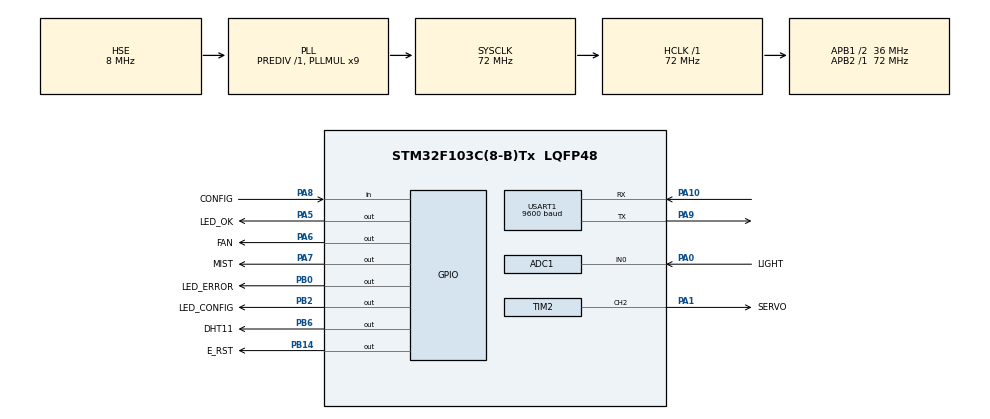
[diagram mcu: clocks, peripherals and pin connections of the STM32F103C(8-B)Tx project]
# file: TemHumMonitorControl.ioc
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ADC1.Channel-0\#ChannelRegularConversion=ADC_CHANNEL_0
ADC1.ContinuousConvMode=ENABLE
ADC1.NbrOfConversionFlag=1
ADC1.Rank-0\#ChannelRegularConversion=1
ADC1.SamplingTime-0\#ChannelRegularConversion=ADC_SAMPLETIME_239CYCLES_5
ADC1.master=1
Dma.ADC1.0.Direction=DMA_PERIPH_TO_MEMORY
Dma.ADC1.0.Instance=DMA1_Channel1
Dma.ADC1.0.MemDataAlignment=DMA_MDATAALIGN_HALFWORD
Dma.ADC1.0.MemInc=DMA_MINC_ENABLE
Dma.ADC1.0.Mode=DMA_CIRCULAR
Dma.ADC1.0.PeriphDataAlignment=DMA_PDATAALIGN_HALFWORD
Dma.ADC1.0.PeriphInc=DMA_PINC_DISABLE
Dma.ADC1.0.Priority=DMA_PRIORITY_LOW
Dma.Request0=ADC1
Mcu.Family=STM32F1
Mcu.Name=STM32F103C(8-B)Tx
Mcu.Package=LQFP48
NVIC.DMA1_Channel1_IRQn=true\:0\:0\:false\:false\:true\:false\:true
NVIC.PriorityGroup=NVIC_PRIORITYGROUP_4
NVIC.USART1_IRQn=true\:0\:0\:false\:false\:true\:true\:true
PA0-WKUP.GPIO_Label=LIGHT
PA0-WKUP.Signal=ADCx_IN0
PA1.GPIO_Label=SERVO
PA1.Signal=S_TIM2_CH2
PA10.Mode=Asynchronous
PA10.Signal=USART1_RX
PA13.Mode=Serial_Wire
PA13.Signal=SYS_JTMS-SWDIO
PA14.Mode=Serial_Wire
PA14.Signal=SYS_JTCK-SWCLK
PA5.GPIO_Label=LED_OK
PA5.Signal=GPIO_Output
PA6.GPIO_Label=FAN
PA6.Signal=GPIO_Output
PA7.GPIO_Label=MIST
PA7.Signal=GPIO_Output
PA8.GPIO_Label=CONFIG
PA8.Signal=GPIO_Input
PA9.Mode=Asynchronous
PA9.Signal=USART1_TX
PB0.GPIO_Label=LED_ERROR
PB0.Signal=GPIO_Output
PB14.GPIO_Label=E_RST
PB14.Signal=GPIO_Output
PB2.GPIO_Label=LED_CONFIG
PB2.Signal=GPIO_Output
PB6.GPIO_Label=DHT11
PB6.Signal=GPIO_Output
PD0-OSC_IN.Mode=HSE-External-Oscillator
PD0-OSC_IN.Signal=RCC_OSC_IN
PD1-OSC_OUT.Mode=HSE-External-Oscillator
PD1-OSC_OUT.Signal=RCC_OSC_OUT
ProjectManager.HeapSize=0x200
ProjectManager.StackSize=0x400
ProjectManager.TargetToolchain=MDK-ARM V5.27
RCC.ADCPresc=RCC_ADCPCLK2_DIV6
RCC.AHBFreq_Value=72000000
RCC.APB1CLKDivider=RCC_HCLK_DIV2
RCC.APB1Freq_Value=36000000
RCC.APB1TimFreq_Value=72000000
RCC.APB2Freq_Value=72000000
RCC.APB2TimFreq_Value=72000000
RCC.HCLKFreq_Value=72000000
RCC.PLLMUL=RCC_PLL_MUL9
RCC.PLLSourceVirtual=RCC_PLLSOURCE_HSE
RCC.SYSCLKFreq_VALUE=72000000
RCC.SYSCLKSource=RCC_SYSCLKSOURCE_PLLCLK
RCC.USBFreq_Value=72000000
SH.ADCx_IN0.0=ADC1_IN0,IN0
SH.S_TIM2_CH2.0=TIM2_CH2,PWM Generation2 CH2
TIM2.Channel-PWM\ Generation2\ CH2=TIM_CHANNEL_2
TIM2.Period=100 - 1
TIM2.Prescaler=14400 - 1
USART1.BaudRate=9600
USART1.VirtualMode=VM_ASYNC
board=custom

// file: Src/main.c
/* USER CODE BEGIN Header */
/**
  ******************************************************************************
  * @file           : main.c
  * @brief          : Main program body
  ******************************************************************************
  * @attention
  *
  * <h2><center>&copy; Copyright (c) 2021 STMicroelectronics.
  * All rights reserved.</center></h2>
  *
  * This software component is licensed by ST under BSD 3-Clause license,
  * the "License"; You may not use this file except in compliance with the
  * License. You may obtain a copy of the License at:
  *                        opensource.org/licenses/BSD-3-Clause
  *
  ******************************************************************************
  */
/* USER CODE END Header */
#include "main.h"

/* USER CODE BEGIN Includes */
#include "string.h"
#include "utils.h"
/* USER CODE END Includes */

ADC_HandleTypeDef hadc1;
DMA_HandleTypeDef hdma_adc1;

TIM_HandleTypeDef htim2;

UART_HandleTypeDef huart1;

/* USER CODE BEGIN PV */
uint32_t adc_buff[1];
uint8_t rx_data[2], rx_buf[150];
uint16_t rx_buf_id;
char tmp[40];

uint8_t temp, humi;
uint16_t lux;
uint16_t sum_temp, sum_humi, sum_lux, count;

// flag
uint8_t fan_sts, mist_sts, servo_sts;
uint8_t mist_pulse;
uint8_t hasControl;
uint8_t data_ready;
uint8_t configMode, nextConfigMode;
uint8_t wifiConnected;

uint32_t svc_0_5sec;
uint32_t svc_1sec;
uint32_t svc_5sec;
uint32_t svc_100us;
/* USER CODE END PV */

void SystemClock_Config(void);
static void MX_GPIO_Init(void);
static void MX_DMA_Init(void);
static void MX_ADC1_Init(void);
static void MX_USART1_UART_Init(void);
static void MX_TIM2_Init(void);
/* USER CODE BEGIN PFP */
void Init();
void MainLoopService();
void Set_Pin_Output(GPIO_TypeDef* port, uint16_t pin);
void Set_Pin_Input(GPIO_TypeDef* port, uint16_t pin);
uint8_t DHT11_Read(uint8_t* temp, uint8_t* humi);
uint16_t Get_Lux();
void HAL_UART_RxCpltCallback(UART_HandleTypeDef*);
void SendCmd(char *cmd, int timeout);
/* USER CODE END PFP */

int main(void)
{

  /* MCU Configuration--------------------------------------------------------*/

  /* Reset of all peripherals, Initializes the Flash interface and the Systick. */
  HAL_Init();

  /* Configure the system clock */
  SystemClock_Config();

  /* Initialize all configured peripherals */
  MX_GPIO_Init();
  MX_DMA_Init();
  MX_ADC1_Init();
  MX_USART1_UART_Init();
  MX_TIM2_Init();
  /* USER CODE BEGIN 2 */
	Init();
  /* USER CODE END 2 */

  /* Infinite loop */
  /* USER CODE BEGIN WHILE */
  while (1)
  {
		MainLoopService();
    /* USER CODE END WHILE */

  }
}

void SystemClock_Config(void)
{
  RCC_OscInitTypeDef RCC_OscInitStruct = {0};
  RCC_ClkInitTypeDef RCC_ClkInitStruct = {0};
  RCC_PeriphCLKInitTypeDef PeriphClkInit = {0};

  /** Initializes the RCC Oscillators according to the specified parameters
  * in the RCC_OscInitTypeDef structure.
  */
  RCC_OscInitStruct.OscillatorType = RCC_OSCILLATORTYPE_HSE;
  RCC_OscInitStruct.HSEState = RCC_HSE_ON;
  RCC_OscInitStruct.HSEPredivValue = RCC_HSE_PREDIV_DIV1;
  RCC_OscInitStruct.HSIState = RCC_HSI_ON;
  RCC_OscInitStruct.PLL.PLLState = RCC_PLL_ON;
  RCC_OscInitStruct.PLL.PLLSource = RCC_PLLSOURCE_HSE;
  RCC_OscInitStruct.PLL.PLLMUL = RCC_PLL_MUL9;
  if (HAL_RCC_OscConfig(&RCC_OscInitStruct) != HAL_OK)
  {
    Error_Handler();
  }
  /** Initializes the CPU, AHB and APB buses clocks
  */
  RCC_ClkInitStruct.ClockType = RCC_CLOCKTYPE_HCLK|RCC_CLOCKTYPE_SYSCLK
                              |RCC_CLOCKTYPE_PCLK1|RCC_CLOCKTYPE_PCLK2;
  RCC_ClkInitStruct.SYSCLKSource = RCC_SYSCLKSOURCE_PLLCLK;
  RCC_ClkInitStruct.AHBCLKDivider = RCC_SYSCLK_DIV1;
  RCC_ClkInitStruct.APB1CLKDivider = RCC_HCLK_DIV2;
  RCC_ClkInitStruct.APB2CLKDivider = RCC_HCLK_DIV1;

  if (HAL_RCC_ClockConfig(&RCC_ClkInitStruct, FLASH_LATENCY_2) != HAL_OK)
  {
    Error_Handler();
  }
  PeriphClkInit.PeriphClockSelection = RCC_PERIPHCLK_ADC;
  PeriphClkInit.AdcClockSelection = RCC_ADCPCLK2_DIV6;
  if (HAL_RCCEx_PeriphCLKConfig(&PeriphClkInit) != HAL_OK)
  {
    Error_Handler();
  }
}

static void MX_ADC1_Init(void)
{

  ADC_ChannelConfTypeDef sConfig = {0};

  /** Common config
  */
  hadc1.Instance = ADC1;
  hadc1.Init.ScanConvMode = ADC_SCAN_DISABLE;
  hadc1.Init.ContinuousConvMode = ENABLE;
  hadc1.Init.DiscontinuousConvMode = DISABLE;
  hadc1.Init.ExternalTrigConv = ADC_SOFTWARE_START;
  hadc1.Init.DataAlign = ADC_DATAALIGN_RIGHT;
  hadc1.Init.NbrOfConversion = 1;
  if (HAL_ADC_Init(&hadc1) != HAL_OK)
  {
    Error_Handler();
  }
  /** Configure Regular Channel
  */
  sConfig.Channel = ADC_CHANNEL_0;
  sConfig.Rank = ADC_REGULAR_RANK_1;
  sConfig.SamplingTime = ADC_SAMPLETIME_239CYCLES_5;
  if (HAL_ADC_ConfigChannel(&hadc1, &sConfig) != HAL_OK)
  {
    Error_Handler();
  }

}

static void MX_TIM2_Init(void)
{

  TIM_MasterConfigTypeDef sMasterConfig = {0};
  TIM_OC_InitTypeDef sConfigOC = {0};

  htim2.Instance = TIM2;
  htim2.Init.Prescaler = 1440 - 1;
  htim2.Init.CounterMode = TIM_COUNTERMODE_UP;
  htim2.Init.Period = 1000 - 1;
  htim2.Init.ClockDivision = TIM_CLOCKDIVISION_DIV1;
  htim2.Init.AutoReloadPreload = TIM_AUTORELOAD_PRELOAD_DISABLE;
  if (HAL_TIM_PWM_Init(&htim2) != HAL_OK)
  {
    Error_Handler();
  }
  sMasterConfig.MasterOutputTrigger = TIM_TRGO_RESET;
  sMasterConfig.MasterSlaveMode = TIM_MASTERSLAVEMODE_DISABLE;
  if (HAL_TIMEx_MasterConfigSynchronization(&htim2, &sMasterConfig) != HAL_OK)
  {
    Error_Handler();
  }
  sConfigOC.OCMode = TIM_OCMODE_PWM1;
  sConfigOC.Pulse = 0;
  sConfigOC.OCPolarity = TIM_OCPOLARITY_HIGH;
  sConfigOC.OCFastMode = TIM_OCFAST_DISABLE;
  if (HAL_TIM_PWM_ConfigChannel(&htim2, &sConfigOC, TIM_CHANNEL_2) != HAL_OK)
  {
    Error_Handler();
  }
  HAL_TIM_MspPostInit(&htim2);

}

static void MX_USART1_UART_Init(void)
{

  huart1.Instance = USART1;
  huart1.Init.BaudRate = 9600;
  huart1.Init.WordLength = UART_WORDLENGTH_8B;
  huart1.Init.StopBits = UART_STOPBITS_1;
  huart1.Init.Parity = UART_PARITY_NONE;
  huart1.Init.Mode = UART_MODE_TX_RX;
  huart1.Init.HwFlowCtl = UART_HWCONTROL_NONE;
  huart1.Init.OverSampling = UART_OVERSAMPLING_16;
  if (HAL_UART_Init(&huart1) != HAL_OK)
  {
    Error_Handler();
  }

}

static void MX_DMA_Init(void)
{

  /* DMA controller clock enable */
  __HAL_RCC_DMA1_CLK_ENABLE();

  /* DMA interrupt init */
  /* DMA1_Channel1_IRQn interrupt configuration */
  HAL_NVIC_SetPriority(DMA1_Channel1_IRQn, 0, 0);
  HAL_NVIC_EnableIRQ(DMA1_Channel1_IRQn);

}

static void MX_GPIO_Init(void)
{
  GPIO_InitTypeDef GPIO_InitStruct = {0};

  /* GPIO Ports Clock Enable */
  __HAL_RCC_GPIOD_CLK_ENABLE();
  __HAL_RCC_GPIOA_CLK_ENABLE();
  __HAL_RCC_GPIOB_CLK_ENABLE();

  /*Configure GPIO pin Output Level */
  HAL_GPIO_WritePin(GPIOA, LED_OK_Pin|FAN_Pin|MIST_Pin, GPIO_PIN_RESET);

  /*Configure GPIO pin Output Level */
  HAL_GPIO_WritePin(GPIOB, LED_ERROR_Pin|LED_CONFIG_Pin|E_RST_Pin|DHT11_Pin, GPIO_PIN_RESET);

  /*Configure GPIO pins : LED_OK_Pin FAN_Pin MIST_Pin */
  GPIO_InitStruct.Pin = LED_OK_Pin|FAN_Pin|MIST_Pin;
  GPIO_InitStruct.Mode = GPIO_MODE_OUTPUT_PP;
  GPIO_InitStruct.Pull = GPIO_NOPULL;
  GPIO_InitStruct.Speed = GPIO_SPEED_FREQ_LOW;
  HAL_GPIO_Init(GPIOA, &GPIO_InitStruct);

  /*Configure GPIO pins : LED_ERROR_Pin LED_CONFIG_Pin E_RST_Pin DHT11_Pin */
  GPIO_InitStruct.Pin = LED_ERROR_Pin|LED_CONFIG_Pin|E_RST_Pin|DHT11_Pin;
  GPIO_InitStruct.Mode = GPIO_MODE_OUTPUT_PP;
  GPIO_InitStruct.Pull = GPIO_NOPULL;
  GPIO_InitStruct.Speed = GPIO_SPEED_FREQ_LOW;
  HAL_GPIO_Init(GPIOB, &GPIO_InitStruct);

  /*Configure GPIO pin : CONFIG_Pin */
  GPIO_InitStruct.Pin = CONFIG_Pin;
  GPIO_InitStruct.Mode = GPIO_MODE_INPUT;
  GPIO_InitStruct.Pull = GPIO_NOPULL;
  HAL_GPIO_Init(CONFIG_GPIO_Port, &GPIO_InitStruct);

}

/* USER CODE BEGIN 4 */
void Init(){
	DWT_Init();
	HAL_ADC_Start_DMA(&hadc1, adc_buff, 1);
	LED_CONFIG(0);
	LED_ERROR(1);
	LED_OK(0);
	// Reset ESP8266
	ESP_RST(1);
	delay_ms(4);
	ESP_RST(0);
	// Init flag value
	data_ready = 0;
	hasControl = 0;
	configMode = 0;
	nextConfigMode = 0;
	wifiConnected = 0;
	sum_temp = sum_humi = sum_lux = count = 0;
	svc_0_5sec = svc_1sec = svc_5sec = get_millis();
	svc_100us = get_micros();
	HAL_UART_Receive_IT(&huart1, (uint8_t*) rx_data, 1);  // set UART interrupt
	HAL_TIM_PWM_Start(&htim2, TIM_CHANNEL_2);
}

void MainLoopService(){
	if(get_millis() - svc_0_5sec >= 500){
		// Get sensor data
		DHT11_Read(&temp, &humi);
		lux = Get_Lux();
		sum_temp += temp;
		sum_humi += humi;
		sum_lux += lux;
		temp = 0;
		humi = 0;
		lux = 0;
		count++;
		svc_0_5sec = get_millis();
	}
	if(get_millis() - svc_1sec >= 1000){
		// Check wifi status
		if(0 == wifiConnected && 0 == configMode){
			SendCmd("{\"cmd\":\"GETWIFISTATUS\"}", 1000);
		}

		if(1 == data_ready && sum_temp / count > 0 && sum_humi / count > 0){
			sprintf(tmp, "{\"cmd\":\"SEND\",\"data\":[%d,%d,%d]}", sum_temp / count, sum_humi / count, sum_lux / count);
			data_ready = 0;
			sum_temp = sum_humi = sum_lux = count = 0;
		}
		else
			strcpy(tmp, "{\"cmd\":\"SEND\"}");

		if(0 == configMode && 1 == wifiConnected)
			SendCmd(tmp, 1000);

		svc_1sec = get_millis();
	}
	if(get_millis() - svc_5sec >= 5000){
		data_ready = 1;
		svc_5sec = get_millis();
	}
	if(0 == ESP_CONFIG){
		// send CONFIG command to ESP8266 to go to Config mode
		SendCmd("{\"cmd\":\"CONFIG\"}", 1000);
		delay_ms(150);
	}
	if(1 == hasControl){
		// control fan, mist, servo
		FAN(fan_sts);
		SERVO(htim2, servo_sts);
		hasControl = 0;
	}
	if(1 == mist_sts && get_micros() - svc_100us >= 50){
		mist_pulse = !mist_pulse;
		MIST(mist_pulse);
		svc_100us = get_micros();
	}
	if(configMode != nextConfigMode){
		configMode = nextConfigMode;
		if(1 == configMode){
			LED_ERROR(0);
			LED_CONFIG(1);
			LED_OK(0);
		}
		else{
			LED_CONFIG(0);
			if(1 == wifiConnected)
				LED_OK(1);
			else
				LED_ERROR(1);
			// Reset ESP8266 after finished the config
			ESP_RST(1);
			delay_ms(4);
			ESP_RST(0);
		}
	}
}

void Set_Pin_Output(GPIO_TypeDef* port, uint16_t pin){
	GPIO_InitTypeDef initStruct = {0};
	initStruct.Pin = pin;
	initStruct.Mode = GPIO_MODE_OUTPUT_PP;
	initStruct.Speed = GPIO_SPEED_FREQ_LOW;
	HAL_GPIO_Init(port, &initStruct);
}

void Set_Pin_Input(GPIO_TypeDef* port, uint16_t pin){
	GPIO_InitTypeDef initStruct = {0};
	initStruct.Pin = pin;
	initStruct.Mode = GPIO_MODE_INPUT;
	initStruct.Pull = GPIO_NOPULL;
	HAL_GPIO_Init(port, &initStruct);
}

uint8_t DHT11_Read(uint8_t* temp, uint8_t* humi){
	uint8_t dht_data[5] = {0};
	uint64_t startTick;
	// Send request signal to DHT11
	Set_Pin_Output(DHT11_GPIO_Port, DHT11_Pin);
	HAL_GPIO_WritePin(DHT11_GPIO_Port, DHT11_Pin, GPIO_PIN_RESET);
	HAL_Delay(18);
	HAL_GPIO_WritePin(DHT11_GPIO_Port, DHT11_Pin, GPIO_PIN_SET);
	delay_us(40);
	// Set as input for receiving the data
	Set_Pin_Input(DHT11_GPIO_Port, DHT11_Pin);
	// The pin is low in 80us
	startTick = get_micros();
	while(!HAL_GPIO_ReadPin(DHT11_GPIO_Port, DHT11_Pin)){
		if(get_micros() - startTick > 100){
			return 255; // timeout
		}
	}
	// The pin is high in 80us
	startTick = get_micros();
	while(HAL_GPIO_ReadPin(DHT11_GPIO_Port, DHT11_Pin)){
		if(get_micros() - startTick > 100){
			return 255; // timeout
		}
	}
	// Read 40 bit response
	for(uint8_t i = 0; i < 5; i++){
		for(uint8_t j = 0; j < 8; j++){
			// Prepare for sending the data from DHT11: the pin is low in 50us
			startTick = get_micros();
			while(!HAL_GPIO_ReadPin(DHT11_GPIO_Port, DHT11_Pin)){
				if(get_micros() - startTick > 60){
					return 255; // timeout
				}
			}
			// HIGH for 26-28us = bit 0 / 70us = bit 1
			startTick = get_micros();
			while(HAL_GPIO_ReadPin(DHT11_GPIO_Port, DHT11_Pin)){
				if(get_micros() - startTick > 100){
					return 255; // timeout
				}
			}
			if(get_micros() - startTick > 40){
				dht_data[i] |= (uint8_t) 1 << (7 - j);
			}
		}
	}
	if(dht_data[0] + dht_data[1] + dht_data[2] + dht_data[3] != dht_data[4]){
		return 0; // checksum error
	}
	*temp = dht_data[2];
	*humi = dht_data[0];
	return 1;
}

uint16_t Get_Lux(){
	double volt = adc_buff[0] / 4095.0 * 3300;
	double res = 3300 * 91 / volt - 91;
	return 500 / res;
}

void HAL_UART_RxCpltCallback(UART_HandleTypeDef* huart){
	if(huart->Instance == USART1){
		rx_buf[rx_buf_id++] = rx_data[0];
		rx_buf[rx_buf_id] = 0;
		if(rx_buf_id > 0 && (rx_data[0] == '\r' || rx_data[0] == '\n')){
			if(indexOf((char*) rx_buf, "control:") != -1) {
				// check fan sts
				if(indexOf((char*) rx_buf, "\"fan\":\"1\"") != -1)
					fan_sts = 1;
				else if(indexOf((char*) rx_buf, "\"fan\":\"0\"") != -1)
					fan_sts = 0;
				// check mist sts
				if(indexOf((char*) rx_buf, "\"mist\":\"1\"") != -1)
					mist_sts = 1;
				else if(indexOf((char*) rx_buf, "\"mist\":\"0\"") != -1)
					mist_sts = 0;
				// check servo sts
				if(indexOf((char*) rx_buf, "\"servo\":\"1\"") != -1)
					servo_sts = 1;
				else if(indexOf((char*) rx_buf, "\"servo\":\"0\"") != -1)
					servo_sts = 0;
				//
				hasControl = 1;
			}
			else if(indexOf((char*) rx_buf, "message:IN_CONFIG_MODE") != -1){
				wifiConnected = 0;
				nextConfigMode = 1;
			}
			else if(indexOf((char*) rx_buf, "message:END_CONFIG_MODE") != -1){
				nextConfigMode = 0;
			}
			else if(indexOf((char*) rx_buf, "message:WIFI_CONNECTED") != -1){
				wifiConnected = 1;
				LED_ERROR(0);
				LED_OK(1);
			}
			//
			rx_buf[0] = 0;
			rx_buf_id = 0;
		}
		HAL_UART_Receive_IT(&huart1, (uint8_t*) rx_data, 1);
	}
}

void SendCmd(char* cmd, int timeout){
	HAL_UART_Transmit(&huart1, (uint8_t*) cmd, strlen(cmd), timeout);
	HAL_UART_Receive_IT(&huart1, (uint8_t*) rx_data, 1);
}
/* USER CODE END 4 */

void Error_Handler(void)
{
}

/************************ (C) COPYRIGHT STMicroelectronics *****END OF FILE****/
